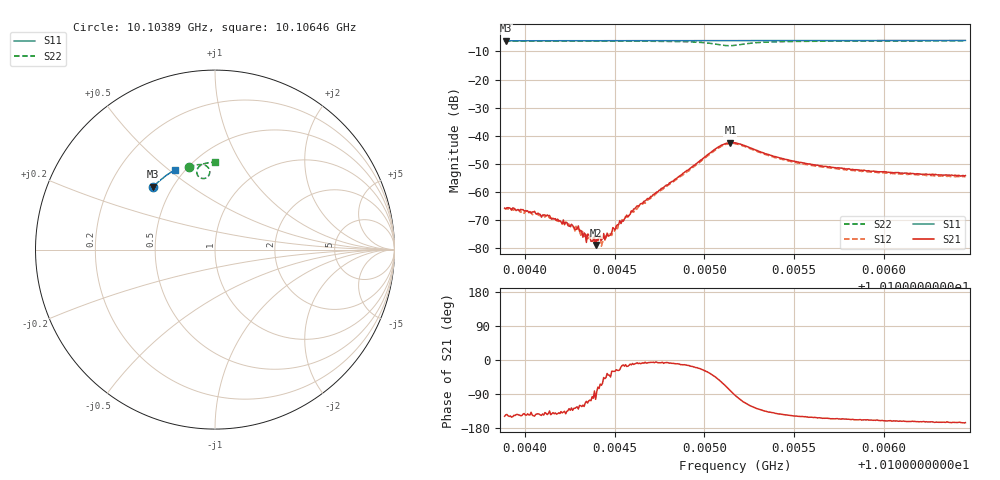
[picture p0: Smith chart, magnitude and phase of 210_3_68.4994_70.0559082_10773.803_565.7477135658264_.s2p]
#  HZ  S  RI  R  50.00
! Rohde & Schwarz Vector Network Analyzer
! Rohde-Schwarz,ZNB20-2Port,1311601062101988,3.16
! Created: UTC 3/20/2024, 5:13:07 PM
! freq[Hz]  re:S11  im:S11  re:S21  im:S21  re:S12  im:S12  re:S22  im:S22
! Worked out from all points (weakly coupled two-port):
!   401 points, 10.10389 GHz to 10.10646 GHz, reference 50 ohm
!   highest |S21| = -42.44 dB at 10.10515 GHz (marker M1); lowest = -78.9 dB at 10.10439 GHz (marker M2)
!   lowest |S11| = -6.2 dB at 10.10389 GHz (marker M3), VSWR 2.92, Z = 19.7 + j18.2 ohm
!   |S11| at or under -10 dB: nowhere
!   |S22| runs from -7.9 to -6.2 dB; largest |S21 - S12| = 0.00082
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1.0103885e10  -0.3438 0.3499  -0.000437 -0.000269  -0.000386 -0.000333  -0.1453 0.4604
1.0103892e10  -0.3434 0.3501  -0.000409 -0.000289  -0.000387 -0.000304  -0.145 0.4603
1.0104123e10  -0.3337 0.3603  -0.000314 -0.000229  -0.00025 -0.000243  -0.1292 0.4655
1.0104232e10  -0.329 0.365  -0.000203 -0.000199  -0.000175 -0.000186  -0.1214 0.4677
1.0104303e10  -0.3258 0.368  -9.92e-05 -0.000172  -0.000112 -0.000183  -0.1162 0.4691
1.0104316e10  -0.3252 0.3686  -0.000108 -0.000168  -6.15e-05 -0.000186  -0.1151 0.4694
1.010438e10  -0.3225 0.3713  -2.64e-05 -0.000136  1.32e-06 -0.000148  -0.1102 0.4706
1.0104393e10  -0.3219 0.3718  -2.71e-05 -0.00011  2.11e-05 -0.000135  -0.1091 0.4707
1.0104425e10  -0.3205 0.3732  5.43e-05 -0.000126  5.64e-05 -9.17e-05  -0.1066 0.4712
1.0104438e10  -0.3199 0.3737  0.000125 -0.000131  8.79e-05 -0.000139  -0.1056 0.4715
1.0104451e10  -0.3194 0.3743  0.000106 -0.000112  0.00012 -0.000116  -0.1045 0.4718
1.010449e10  -0.3175 0.3759  0.0002 -0.000114  0.000186 -6.18e-05  -0.1012 0.4722
1.0104547e10  -0.3149 0.3782  0.000292 -6.77e-05  0.0003 -6.72e-05  -0.0962 0.4731
1.0104618e10  -0.3118 0.3811  0.000525 -8.48e-05  0.000483 -3.85e-05  -0.0896 0.474
1.0104747e10  -0.3058 0.3863  0.00105 -0.000131  0.000992 -2.76e-05  -0.0756 0.4742
1.0105068e10  -0.2906 0.3985  0.00405 -0.00441  0.00431 -0.00382  -0.0301 0.4238
1.0105145e10  -0.2872 0.401  0.00111 -0.00747  0.0018 -0.00703  -0.0646 0.3959
1.0105171e10  -0.2861 0.402  -0.000382 -0.00747  0.000319 -0.0072  -0.0802 0.3992
1.0105402e10  -0.2751 0.4106  -0.00327 -0.00262  -0.00286 -0.0028  -0.0885 0.4625
1.0105602e10  -0.2652 0.4179  -0.00268 -0.00148  -0.00244 -0.00164  -0.067 0.476
1.0106032e10  -0.2434 0.4321  -0.00209 -0.000745  -0.00194 -0.000903  -0.0316 0.485
1.0106457e10  -0.2211 0.4449  -0.00188 -0.000492  -0.00173 -0.000622  -0.00134 0.4879
